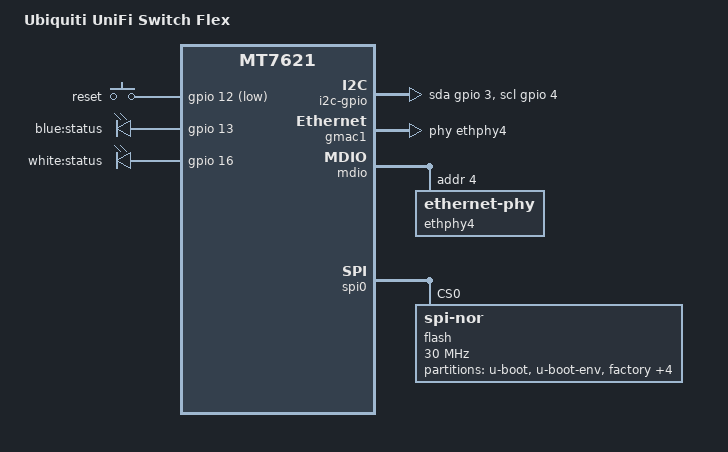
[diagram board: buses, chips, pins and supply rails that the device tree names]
#include "mt7621.dtsi"

#include <dt-bindings/gpio/gpio.h>
#include <dt-bindings/input/input.h>

/ {
	model = "Ubiquiti UniFi Switch Flex";
	compatible = "ubnt,usw-flex", "mediatek,mt7621-soc";

	aliases {
		led-boot = &led_white;
		led-failsafe = &led_white;
		led-running = &led_blue;
		led-upgrade = &led_blue;
		label-mac-device = &gmac0;
	};

	chosen {
		bootargs-override = "console=ttyS0,115200";
	};

	keys {
		compatible = "gpio-keys";

		reset {
			label = "reset";
			gpios = <&gpio 12 GPIO_ACTIVE_LOW>;
			linux,code = <KEY_RESTART>;
		};
	};

	leds {
		compatible = "gpio-leds";

		led_blue: status_blue {
			label = "blue:status";
			gpios = <&gpio 13 GPIO_ACTIVE_HIGH>;
		};

		led_white: status_white {
			label = "white:status";
			gpios = <&gpio 16 GPIO_ACTIVE_HIGH>;
		};
	};

	i2c-gpio {
		compatible = "i2c-gpio";

		sda-gpios = <&gpio 3 GPIO_ACTIVE_HIGH>;
		scl-gpios = <&gpio 4 GPIO_ACTIVE_HIGH>;

		i2c-gpio,delay-us = <50>;

		/* Microsemi PD69104B1 PSE controller */
	};
};

&gmac0 {
	nvmem-cells = <&macaddr_eeprom>;
	nvmem-cell-names = "mac-address";
	label = "dsa";
};

&gmac1 {
	status = "okay";
	label = "lan1";
	phy-handle = <&ethphy4>;

	nvmem-cells = <&macaddr_eeprom>;
	nvmem-cell-names = "mac-address";
};

&mdio {
	ethphy4: ethernet-phy@4 {
		reg = <4>;
	};
};

&switch0 {
	ports {
		port@0 {
			status = "okay";
			label = "lan5";
		};

		port@1 {
			status = "okay";
			label = "lan4";
		};

		port@2 {
			status = "okay";
			label = "lan3";
		};

		port@3 {
			status = "okay";
			label = "lan2";
		};
	};
};

&state_default {
	gpio {
		groups = "i2c", "uart2", "uart3", "jtag";
		function = "gpio";
	};
};

&spi0 {
	status = "okay";

	flash@0 {
		compatible = "jedec,spi-nor";
		reg = <0>;
		spi-max-frequency = <30000000>;

		partitions {
			compatible = "fixed-partitions";
			#address-cells = <1>;
			#size-cells = <1>;

			partition@0 {
				label = "u-boot";
				reg = <0x0 0x60000>;
				read-only;
			};

			partition@60000 {
				label = "u-boot-env";
				reg = <0x60000 0x10000>;
			};

			partition@70000 {
				label = "factory";
				reg = <0x70000 0x10000>;
				read-only;
			};

			part_eeprom: partition@80000 {
				compatible = "nvmem-cells";

				#address-cells = <1>;
				#size-cells = <1>;

				label = "eeprom";
				reg = <0x80000 0x10000>;
				read-only;

				macaddr_eeprom: macaddr@0 {
					reg = <0x0 0x6>;
				};
			};

			partition@90000 {
				label = "bs";
				reg = <0x90000 0x10000>;
			};

			partition@a0000 {
				label = "cfg";
				reg = <0xa0000 0x100000>;
				read-only;
			};

			partition@1a0000 {
				/* Combine kernel0 / kernel1 */
				compatible = "denx,fit";
				label = "firmware";
				reg = <0x1a0000 0xe60000>;
			};
		};
	};
};

&xhci {
	status = "disabled";
};
